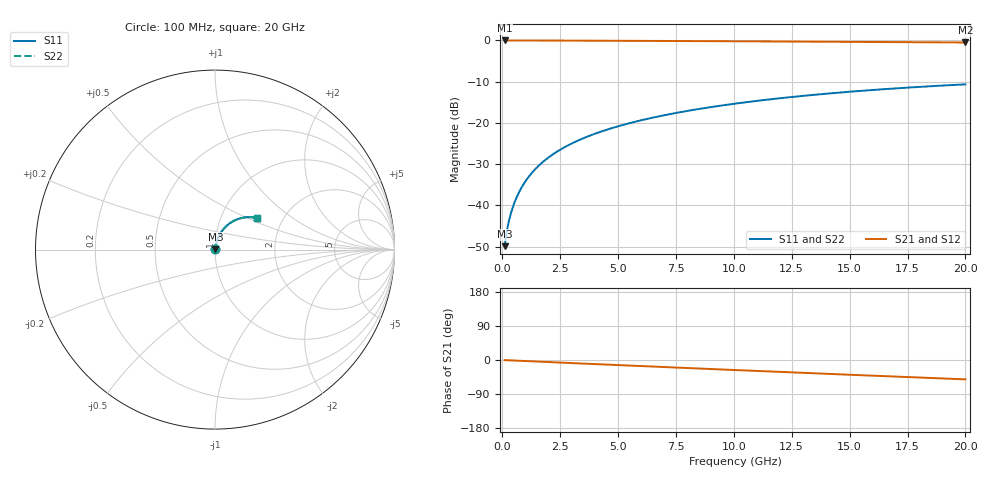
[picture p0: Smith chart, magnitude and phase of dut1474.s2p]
! Touchstone file exported from HFSS 2026.1.0
!  File:  C:/ffzhzh/LocalFiles/Ansys_Project_Files/temp_train_TMRDL_1474_1783167564_18472.aedt
!  Generated:  08:20:45 PM Jul  4, 2026
!  Design:  TMRDL
!  Project:  temp_train_TMRDL_1474_1783167564_18472
! Variables:
!  h_bsmrdl = 2um
!  h_ox = 20um
!  h_rdl = 5um
!  h_sub = 80um
!  h_tmrdl = 5.46um
!  h_tsv = 80um
!  h_via = 3um
!  l_bsmrdl = 300um
!  l_sub = 1250.88um
!  l_tmrdl = 850.88um
!  m_sub = 200um
!  pitch = 45.12um
!  r_tsv = 6um
!  s_tmrdl = 10um
!  w_bsmrdl = 18um
!  w_sub = 500um
!  w_tmrdl = 27.59um
!  x_tsv_center1 = 864.675um
!  x_tsv_center2 = 1182.675um
!  x_tsv_center3 = 2061.145um
!  x_tsv_center4 = 2379.145um
!  x_tsv_center5 = 3257.615um
!  x_tsv_center6 = 3575.615um
# GHz S MA R 50.000000
! Terminal data exported
! Port[1] = TM_RDL1_1_T1
! Port[2] = TM_RDL1_1_T2
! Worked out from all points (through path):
!   200 points, 100 MHz to 20 GHz, reference 50 ohm
!   highest |S21| = -0.02 dB at 100 MHz (marker M1); lowest = -0.5 dB at 20 GHz (marker M2)
!   group delay of S21, straight-line fit = 7.08 ps
!   lowest |S11| = -49.9 dB at 100 MHz (marker M3), VSWR 1.01, Z = 50.2 + j0.225 ohm
!   |S11| at or under -10 dB: start of sweep to end of sweep
!   |S22| runs from -49.9 to -10.7 dB; largest |S21 - S12| = 3.6e-15
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0.1  0.003202 44.5  0.9977 -0.3  0.9977 -0.3  0.003202 44.5
! Gamma 0 0 0 0
! Port Impedance 50 0 50 0
0.2  0.004965 58.8  0.9975 -0.6  0.9975 -0.6  0.004966 58.8
0.3  0.006738 65.4  0.9973 -0.8  0.9973 -0.8  0.006738 65.4
0.4  0.008521 69.5  0.9972 -1.1  0.9972 -1.1  0.008521 69.5
0.5  0.01033 72.2  0.9971 -1.4  0.9971 -1.4  0.01033 72.2
0.6  0.01216 74.1  0.997 -1.7  0.997 -1.7  0.01216 74.1
0.8  0.01585 76.5  0.9968 -2.2  0.9968 -2.2  0.01585 76.4
1.1  0.02145 78.1  0.9965 -3.0  0.9965 -3.0  0.02145 78.1
1.5  0.02891 78.7  0.996 -4.1  0.996 -4.1  0.02891 78.7
1.8  0.03448 78.6  0.9955 -4.9  0.9955 -4.9  0.03448 78.6
2.1  0.04 78.2  0.995 -5.7  0.995 -5.7  0.04 78.2
2.7  0.05089 77.2  0.9939 -7.3  0.9939 -7.3  0.05089 77.2
3.5  0.0651 75.6  0.9922 -9.5  0.9922 -9.5  0.06509 75.6
4.2  0.07726 74.0  0.9907 -11.3  0.9907 -11.3  0.07725 74.0
5  0.09088 72.1  0.9888 -13.4  0.9888 -13.4  0.09088 72.1
5.9  0.1059 70.0  0.9867 -15.8  0.9867 -15.8  0.1059 70.0
6.8  0.1206 67.9  0.9844 -18.1  0.9844 -18.1  0.1206 67.9
8.3  0.1444 64.4  0.9803 -22.0  0.9803 -22.0  0.1444 64.4
10.1  0.1718 60.1  0.9751 -26.6  0.9751 -26.6  0.1717 60.1
13.4  0.218 52.2  0.9647 -34.9  0.9647 -34.9  0.218 52.2
16.7  0.2586 44.4  0.9539 -43.1  0.9539 -43.1  0.2586 44.3
20  0.2931 36.6  0.9434 -51.1  0.9434 -51.1  0.293 36.6
